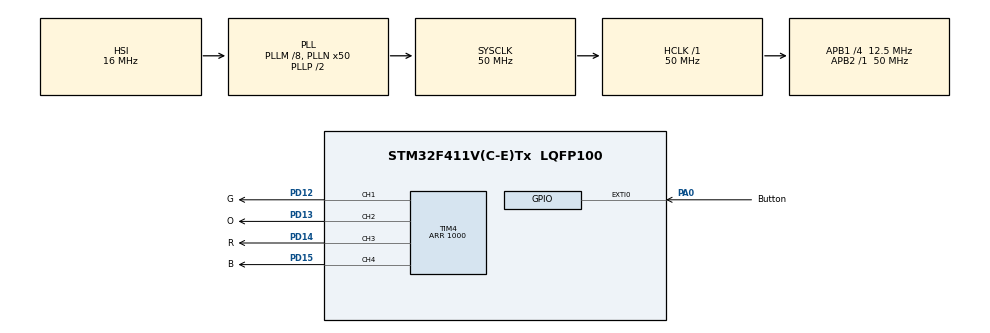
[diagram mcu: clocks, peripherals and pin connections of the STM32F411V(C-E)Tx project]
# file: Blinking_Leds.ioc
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Mcu.Family=STM32F4
Mcu.Name=STM32F411V(C-E)Tx
Mcu.Package=LQFP100
NVIC.EXTI0_IRQn=true\:0\:0\:false\:false\:true\:true
NVIC.PriorityGroup=NVIC_PRIORITYGROUP_0
NVIC.TIM4_IRQn=true\:0\:0\:false\:false\:true\:true
PA0-WKUP.GPIO_Label=Button
PA0-WKUP.GPIO_PuPd=GPIO_NOPULL
PA0-WKUP.Signal=GPXTI0
PC14-OSC32_IN.Mode=LSE-External-Oscillator
PC14-OSC32_IN.Signal=RCC_OSC32_IN
PC15-OSC32_OUT.Mode=LSE-External-Oscillator
PC15-OSC32_OUT.Signal=RCC_OSC32_OUT
PD12.GPIO_Label=G
PD12.GPIO_Speed=GPIO_SPEED_FREQ_HIGH
PD12.Signal=S_TIM4_CH1
PD13.GPIO_Label=O
PD13.GPIO_Speed=GPIO_SPEED_FREQ_HIGH
PD13.Signal=S_TIM4_CH2
PD14.GPIO_Label=R
PD14.GPIO_Speed=GPIO_SPEED_FREQ_HIGH
PD14.Signal=S_TIM4_CH3
PD15.GPIO_Label=B
PD15.GPIO_Speed=GPIO_SPEED_FREQ_HIGH
PD15.Signal=S_TIM4_CH4
PH0\ -\ OSC_IN.Mode=HSE-External-Oscillator
PH0\ -\ OSC_IN.Signal=RCC_OSC_IN
PH1\ -\ OSC_OUT.Mode=HSE-External-Oscillator
PH1\ -\ OSC_OUT.Signal=RCC_OSC_OUT
ProjectManager.HeapSize=0x200
ProjectManager.StackSize=0x400
ProjectManager.TargetToolchain=SW4STM32
RCC.48MHZClocksFreq_Value=12500000
RCC.AHBFreq_Value=50000000
RCC.APB1CLKDivider=RCC_HCLK_DIV4
RCC.APB1Freq_Value=12500000
RCC.APB1TimFreq_Value=25000000
RCC.APB2Freq_Value=50000000
RCC.APB2TimFreq_Value=50000000
RCC.CortexFreq_Value=50000000
RCC.HCLKFreq_Value=50000000
RCC.HSE_VALUE=8000000
RCC.HSI_VALUE=16000000
RCC.PLLI2SM=5
RCC.PLLI2SN=200
RCC.PLLM=8
RCC.PLLN=50
RCC.PLLQ=8
RCC.SYSCLKFreq_VALUE=50000000
RCC.SYSCLKSource=RCC_SYSCLKSOURCE_PLLCLK
RCC.VCOOutputFreq_Value=100000000
SH.S_TIM4_CH1.0=TIM4_CH1,PWM Generation1 CH1
SH.S_TIM4_CH2.0=TIM4_CH2,PWM Generation2 CH2
SH.S_TIM4_CH3.0=TIM4_CH3,PWM Generation3 CH3
SH.S_TIM4_CH4.0=TIM4_CH4,PWM Generation4 CH4
TIM4.Channel-PWM\ Generation1\ CH1=TIM_CHANNEL_1
TIM4.Channel-PWM\ Generation2\ CH2=TIM_CHANNEL_2
TIM4.Channel-PWM\ Generation3\ CH3=TIM_CHANNEL_3
TIM4.Channel-PWM\ Generation4\ CH4=TIM_CHANNEL_4
TIM4.Period=1000
VP_TIM4_VS_ClockSourceINT.Mode=Internal
board=32F411EDISCOVERY

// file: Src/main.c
/**
  ******************************************************************************
  * @file           : main.c
  * @brief          : Main program body
  ******************************************************************************
  ** This notice applies to any and all portions of this file
  * that are not between comment pairs USER CODE BEGIN and
  * USER CODE END. Other portions of this file, whether
  * inserted by the user or by software development tools
  * are owned by their respective copyright owners.
  *
  * COPYRIGHT(c) 2018 STMicroelectronics
  *
  * Redistribution and use in source and binary forms, with or without modification,
  * are permitted provided that the following conditions are met:
  *   1. Redistributions of source code must retain the above copyright notice,
  *      this list of conditions and the following disclaimer.
  *   2. Redistributions in binary form must reproduce the above copyright notice,
  *      this list of conditions and the following disclaimer in the documentation
  *      and/or other materials provided with the distribution.
  *   3. Neither the name of STMicroelectronics nor the names of its contributors
  *      may be used to endorse or promote products derived from this software
  *      without specific prior written permission.
  *
  * THIS SOFTWARE IS PROVIDED BY THE COPYRIGHT HOLDERS AND CONTRIBUTORS "AS IS"
  * AND ANY EXPRESS OR IMPLIED WARRANTIES, INCLUDING, BUT NOT LIMITED TO, THE
  * IMPLIED WARRANTIES OF MERCHANTABILITY AND FITNESS FOR A PARTICULAR PURPOSE ARE
  * DISCLAIMED. IN NO EVENT SHALL THE COPYRIGHT HOLDER OR CONTRIBUTORS BE LIABLE
  * FOR ANY DIRECT, INDIRECT, INCIDENTAL, SPECIAL, EXEMPLARY, OR CONSEQUENTIAL
  * DAMAGES (INCLUDING, BUT NOT LIMITED TO, PROCUREMENT OF SUBSTITUTE GOODS OR
  * SERVICES; LOSS OF USE, DATA, OR PROFITS; OR BUSINESS INTERRUPTION) HOWEVER
  * CAUSED AND ON ANY THEORY OF LIABILITY, WHETHER IN CONTRACT, STRICT LIABILITY,
  * OR TORT (INCLUDING NEGLIGENCE OR OTHERWISE) ARISING IN ANY WAY OUT OF THE USE
  * OF THIS SOFTWARE, EVEN IF ADVISED OF THE POSSIBILITY OF SUCH DAMAGE.
  *
  ******************************************************************************
  */
#include "main.h"
#include "stm32f4xx_hal.h"
#include "tim.h"
#include "gpio.h"

/* USER CODE BEGIN PV */
/* Private variables ---------------------------------------------------------*/
  uint number_of_leds = 4;
  uint16_t *leds[] = {&TIM4->CCR1, &TIM4->CCR2, &TIM4->CCR3, &TIM4->CCR4};
  uint current_state = 0;
  volatile uint clockwise = 1;
/* USER CODE END PV */

void SystemClock_Config(void);

/* USER CODE BEGIN PFP */
/* Private function prototypes -----------------------------------------------*/

/* USER CODE END PFP */

/* USER CODE BEGIN 0 */
void HAL_GPIO_EXTI_Callback(uint16_t GPIO_EXTI0){
	static uint32_t last_change_tick;
		  if( HAL_GetTick() - last_change_tick < 100 )
		  {
		   return;
		  }
		  last_change_tick = HAL_GetTick();
	if (clockwise == 1){
		clockwise = number_of_leds - 1;
	} else{
		clockwise = 1;
	}
}
/* USER CODE END 0 */

int main(void)
{

  /* MCU Configuration----------------------------------------------------------*/

  /* Reset of all peripherals, Initializes the Flash interface and the Systick. */
  HAL_Init();

  /* Configure the system clock */
  SystemClock_Config();

  /* Initialize all configured peripherals */
  MX_GPIO_Init();
  MX_TIM4_Init();
  /* USER CODE BEGIN 2 */
  HAL_TIM_PWM_Start(&htim4, TIM_CHANNEL_1);
  HAL_TIM_PWM_Start(&htim4, TIM_CHANNEL_2);
  HAL_TIM_PWM_Start(&htim4, TIM_CHANNEL_3);
  HAL_TIM_PWM_Start(&htim4, TIM_CHANNEL_4);
  /* USER CODE END 2 */

  /* Infinite loop */
  /* USER CODE BEGIN WHILE */
  while (1)
  {

	  for (int i = 0; i < 150; i++){
	   HAL_Delay(20);
	   if( *leds[current_state]<TIM4->ARR )
	   *leds[current_state] += 5;
	  }
	  for (int i = 0; i < 150; i++){
	  	HAL_Delay(20);
	  	if( 0<*leds[current_state])
	  	  *leds[current_state] -= 5;
	  }
	  *leds[current_state] = 0;
//	  HAL_GPIO_WritePin(GPIOD, leds[current_state], GPIO_PIN_SET);
//	  HAL_Delay(200);
//	  HAL_GPIO_WritePin(GPIOD, leds[current_state], GPIO_PIN_RESET);
//	  HAL_Delay(10);

	  current_state = (current_state + clockwise) % number_of_leds;
  /* USER CODE END WHILE */

  }

}

void SystemClock_Config(void)
{

  RCC_OscInitTypeDef RCC_OscInitStruct;
  RCC_ClkInitTypeDef RCC_ClkInitStruct;

    /**Configure the main internal regulator output voltage
    */
  __HAL_RCC_PWR_CLK_ENABLE();

  __HAL_PWR_VOLTAGESCALING_CONFIG(PWR_REGULATOR_VOLTAGE_SCALE1);

    /**Initializes the CPU, AHB and APB busses clocks
    */
  RCC_OscInitStruct.OscillatorType = RCC_OSCILLATORTYPE_HSI;
  RCC_OscInitStruct.HSIState = RCC_HSI_ON;
  RCC_OscInitStruct.HSICalibrationValue = 16;
  RCC_OscInitStruct.PLL.PLLState = RCC_PLL_ON;
  RCC_OscInitStruct.PLL.PLLSource = RCC_PLLSOURCE_HSI;
  RCC_OscInitStruct.PLL.PLLM = 8;
  RCC_OscInitStruct.PLL.PLLN = 50;
  RCC_OscInitStruct.PLL.PLLP = RCC_PLLP_DIV2;
  RCC_OscInitStruct.PLL.PLLQ = 8;
  if (HAL_RCC_OscConfig(&RCC_OscInitStruct) != HAL_OK)
  {
    _Error_Handler(__FILE__, __LINE__);
  }

    /**Initializes the CPU, AHB and APB busses clocks
    */
  RCC_ClkInitStruct.ClockType = RCC_CLOCKTYPE_HCLK|RCC_CLOCKTYPE_SYSCLK
                              |RCC_CLOCKTYPE_PCLK1|RCC_CLOCKTYPE_PCLK2;
  RCC_ClkInitStruct.SYSCLKSource = RCC_SYSCLKSOURCE_PLLCLK;
  RCC_ClkInitStruct.AHBCLKDivider = RCC_SYSCLK_DIV1;
  RCC_ClkInitStruct.APB1CLKDivider = RCC_HCLK_DIV4;
  RCC_ClkInitStruct.APB2CLKDivider = RCC_HCLK_DIV1;

  if (HAL_RCC_ClockConfig(&RCC_ClkInitStruct, FLASH_LATENCY_1) != HAL_OK)
  {
    _Error_Handler(__FILE__, __LINE__);
  }

    /**Configure the Systick interrupt time
    */
  HAL_SYSTICK_Config(HAL_RCC_GetHCLKFreq()/1000);

    /**Configure the Systick
    */
  HAL_SYSTICK_CLKSourceConfig(SYSTICK_CLKSOURCE_HCLK);

  /* SysTick_IRQn interrupt configuration */
  HAL_NVIC_SetPriority(SysTick_IRQn, 0, 0);
}

void _Error_Handler(char *file, int line)
{
  while(1)
  {
  }
}

/************************ (C) COPYRIGHT STMicroelectronics *****END OF FILE****/
